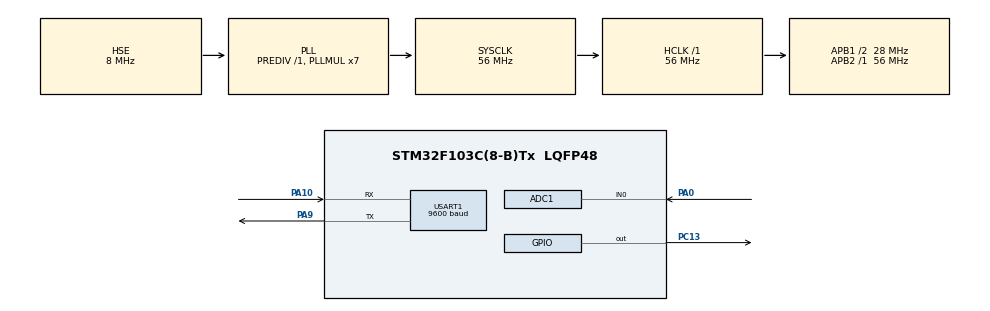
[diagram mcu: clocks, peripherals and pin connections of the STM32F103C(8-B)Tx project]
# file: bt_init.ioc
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ADC1.Channel-0\#ChannelRegularConversion=ADC_CHANNEL_0
ADC1.ContinuousConvMode=ENABLE
ADC1.EnableInjectedConversion=ENABLE
ADC1.NbrOfConversionFlag=1
ADC1.Rank-0\#ChannelRegularConversion=1
ADC1.SamplingTime-0\#ChannelRegularConversion=ADC_SAMPLETIME_55CYCLES_5
ADC1.master=1
Mcu.Family=STM32F1
Mcu.Name=STM32F103C(8-B)Tx
Mcu.Package=LQFP48
NVIC.PriorityGroup=NVIC_PRIORITYGROUP_4
NVIC.USART1_IRQn=true\:0\:0\:false\:false\:true\:true\:true\:true
PA0-WKUP.Signal=ADCx_IN0
PA10.Mode=Asynchronous
PA10.Signal=USART1_RX
PA13.Mode=Serial_Wire
PA13.Signal=SYS_JTMS-SWDIO
PA14.Mode=Serial_Wire
PA14.Signal=SYS_JTCK-SWCLK
PA9.Mode=Asynchronous
PA9.Signal=USART1_TX
PC13-TAMPER-RTC.Signal=GPIO_Output
PD0-OSC_IN.Mode=HSE-External-Oscillator
PD0-OSC_IN.Signal=RCC_OSC_IN
PD1-OSC_OUT.Mode=HSE-External-Oscillator
PD1-OSC_OUT.Signal=RCC_OSC_OUT
ProjectManager.HeapSize=0x200
ProjectManager.StackSize=0x400
ProjectManager.TargetToolchain=STM32CubeIDE
RCC.ADCPresc=RCC_ADCPCLK2_DIV4
RCC.AHBFreq_Value=56000000
RCC.APB1CLKDivider=RCC_HCLK_DIV2
RCC.APB1Freq_Value=28000000
RCC.APB1TimFreq_Value=56000000
RCC.APB2Freq_Value=56000000
RCC.APB2TimFreq_Value=56000000
RCC.HCLKFreq_Value=56000000
RCC.PLLMUL=RCC_PLL_MUL7
RCC.PLLSourceVirtual=RCC_PLLSOURCE_HSE
RCC.SYSCLKFreq_VALUE=56000000
RCC.SYSCLKSource=RCC_SYSCLKSOURCE_PLLCLK
RCC.USBFreq_Value=56000000
SH.ADCx_IN0.0=ADC1_IN0,IN0
USART1.BaudRate=9600
USART1.VirtualMode=VM_ASYNC
board=custom

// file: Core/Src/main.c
/* USER CODE BEGIN Header */
/**
  ******************************************************************************
  * @file           : main.c
  * @brief          : Main program body
  ******************************************************************************
  * @attention
  *
  * Copyright (c) 2022 STMicroelectronics.
  * All rights reserved.
  *
  * This software is licensed under terms that can be found in the LICENSE file
  * in the root directory of this software component.
  * If no LICENSE file comes with this software, it is provided AS-IS.
  *
  ******************************************************************************
  */
/* USER CODE END Header */
#include "main.h"
#include "stm32f1xx_hal_conf.h"
#include "stdlib.h"
/* USER CODE BEGIN Includes */
#include <math.h>
/* USER CODE END Includes */

ADC_HandleTypeDef hadc1;

UART_HandleTypeDef huart1;

/* USER CODE BEGIN PV */
uint8_t rxData;
uint8_t temp_uint[6];
/* Private variables ---------------------------------------------------------*/
double adc_raw,temp;
/* USER CODE END PV */

void SystemClock_Config(void);
static void MX_GPIO_Init(void);
static void MX_USART1_UART_Init(void);
static void MX_ADC1_Init(void);

double Thermistor(int analogValue){

 double temperature;
 temperature = log(((40950000 / analogValue) - 10000));
 temperature = 1 / (0.001129148 + (0.000234125 + (0.0000000876741 * temperature * temperature)) * temperature);
 temperature = temperature - 273.15;
 temperature = temperature * 1.1;
 return temperature;
}

int main(void)
{

  /* MCU Configuration--------------------------------------------------------*/

  /* Reset of all peripherals, Initializes the Flash interface and the Systick. */
  HAL_Init();

  /* Configure the system clock */
  SystemClock_Config();

  /* Initialize all configured peripherals */
  MX_GPIO_Init();
  MX_USART1_UART_Init();
  MX_ADC1_Init();
  /* USER CODE BEGIN 2 */
  HAL_UART_Receive_IT(&huart1,&rxData,1);
  HAL_ADC_Start(&hadc1);
  /* USER CODE END 2 */

  /* Infinite loop */
  /* USER CODE BEGIN WHILE */
  while (1)
  {
	  	adc_raw = HAL_ADC_GetValue(&hadc1);
	  	temp = Thermistor(adc_raw);
	  	snprintf(temp_uint, 6, "%f", temp);
	  	HAL_Delay(1500);
	  	HAL_UART_Transmit(&huart1, temp_uint, sizeof(temp_uint), HAL_MAX_DELAY);
    /* USER CODE END WHILE */

  }
}

void SystemClock_Config(void)
{
  RCC_OscInitTypeDef RCC_OscInitStruct = {0};
  RCC_ClkInitTypeDef RCC_ClkInitStruct = {0};
  RCC_PeriphCLKInitTypeDef PeriphClkInit = {0};

  /** Initializes the RCC Oscillators according to the specified parameters
  * in the RCC_OscInitTypeDef structure.
  */
  RCC_OscInitStruct.OscillatorType = RCC_OSCILLATORTYPE_HSE;
  RCC_OscInitStruct.HSEState = RCC_HSE_ON;
  RCC_OscInitStruct.HSEPredivValue = RCC_HSE_PREDIV_DIV1;
  RCC_OscInitStruct.HSIState = RCC_HSI_ON;
  RCC_OscInitStruct.PLL.PLLState = RCC_PLL_ON;
  RCC_OscInitStruct.PLL.PLLSource = RCC_PLLSOURCE_HSE;
  RCC_OscInitStruct.PLL.PLLMUL = RCC_PLL_MUL7;
  if (HAL_RCC_OscConfig(&RCC_OscInitStruct) != HAL_OK)
  {
    Error_Handler();
  }

  /** Initializes the CPU, AHB and APB buses clocks
  */
  RCC_ClkInitStruct.ClockType = RCC_CLOCKTYPE_HCLK|RCC_CLOCKTYPE_SYSCLK
                              |RCC_CLOCKTYPE_PCLK1|RCC_CLOCKTYPE_PCLK2;
  RCC_ClkInitStruct.SYSCLKSource = RCC_SYSCLKSOURCE_PLLCLK;
  RCC_ClkInitStruct.AHBCLKDivider = RCC_SYSCLK_DIV1;
  RCC_ClkInitStruct.APB1CLKDivider = RCC_HCLK_DIV2;
  RCC_ClkInitStruct.APB2CLKDivider = RCC_HCLK_DIV1;

  if (HAL_RCC_ClockConfig(&RCC_ClkInitStruct, FLASH_LATENCY_2) != HAL_OK)
  {
    Error_Handler();
  }
  PeriphClkInit.PeriphClockSelection = RCC_PERIPHCLK_ADC;
  PeriphClkInit.AdcClockSelection = RCC_ADCPCLK2_DIV4;
  if (HAL_RCCEx_PeriphCLKConfig(&PeriphClkInit) != HAL_OK)
  {
    Error_Handler();
  }
  /**Configure the Systick interrupt time
      */
    HAL_SYSTICK_Config(HAL_RCC_GetHCLKFreq()/1000);

      /**Configure the Systick
      */
    HAL_SYSTICK_CLKSourceConfig(SYSTICK_CLKSOURCE_HCLK);

    /* SysTick_IRQn interrupt configuration */
    HAL_NVIC_SetPriority(SysTick_IRQn, 0, 0);

}

static void MX_ADC1_Init(void)
{

  ADC_ChannelConfTypeDef sConfig;

    /**Common config
    */
  hadc1.Instance = ADC1;
  hadc1.Init.ScanConvMode = ADC_SCAN_DISABLE;
  hadc1.Init.ContinuousConvMode = ENABLE;
  hadc1.Init.DiscontinuousConvMode = DISABLE;
  hadc1.Init.ExternalTrigConv = ADC_SOFTWARE_START;
  hadc1.Init.DataAlign = ADC_DATAALIGN_RIGHT;
  hadc1.Init.NbrOfConversion = 1;
  if (HAL_ADC_Init(&hadc1) != HAL_OK)
  {
    Error_Handler();
  }

    /**Configure Regular Channel
    */
  sConfig.Channel = ADC_CHANNEL_0;
  sConfig.Rank = 1;
  sConfig.SamplingTime = ADC_SAMPLETIME_55CYCLES_5;
  if (HAL_ADC_ConfigChannel(&hadc1, &sConfig) != HAL_OK)
  {
    Error_Handler();
  }

}

static void MX_USART1_UART_Init(void)
{

  huart1.Instance = USART1;
  huart1.Init.BaudRate = 9600;
  huart1.Init.WordLength = UART_WORDLENGTH_8B;
  huart1.Init.StopBits = UART_STOPBITS_1;
  huart1.Init.Parity = UART_PARITY_NONE;
  huart1.Init.Mode = UART_MODE_TX_RX;
  huart1.Init.HwFlowCtl = UART_HWCONTROL_NONE;
  huart1.Init.OverSampling = UART_OVERSAMPLING_16;
  if (HAL_UART_Init(&huart1) != HAL_OK)
  {
    Error_Handler();
  }

}

static void MX_GPIO_Init(void)
{
  GPIO_InitTypeDef GPIO_InitStruct = {0};

  /* GPIO Ports Clock Enable */
  __HAL_RCC_GPIOC_CLK_ENABLE();
  __HAL_RCC_GPIOD_CLK_ENABLE();
  __HAL_RCC_GPIOA_CLK_ENABLE();

  /*Configure GPIO pin Output Level */
  HAL_GPIO_WritePin(GPIOC, GPIO_PIN_13, 1);

  /*Configure GPIO pin : PC13 */
  GPIO_InitStruct.Pin = GPIO_PIN_13;
  GPIO_InitStruct.Mode = GPIO_MODE_OUTPUT_PP;
  GPIO_InitStruct.Pull = GPIO_NOPULL;
  GPIO_InitStruct.Speed = GPIO_SPEED_FREQ_LOW;
  HAL_GPIO_Init(GPIOC, &GPIO_InitStruct);

}

/* USER CODE BEGIN 4 */
void HAL_UART_RxCpltCallback(UART_HandleTypeDef *huart)
{
  if(huart->Instance==USART1)
  {
    if(rxData==78) // Ascii value of 'N' is 78 (N for NO)
    {
    	HAL_GPIO_WritePin(GPIOC, GPIO_PIN_13, 1);
    	HAL_UART_Transmit(huart, temp_uint, sizeof(temp_uint), HAL_MAX_DELAY);
    }
    else if (rxData==89) // Ascii value of 'Y' is 89 (Y for YES)
    {
    	HAL_GPIO_WritePin(GPIOC, GPIO_PIN_13, 0);
    	HAL_UART_Transmit(huart, temp_uint, sizeof(temp_uint), HAL_MAX_DELAY);
    }
    HAL_UART_Receive_IT(&huart1,&rxData,1); // Enabling interrupt receive again
  }
}
/* USER CODE END 4 */

void Error_Handler(void)
{
  __disable_irq();
  while (1)
  {
  }
}
